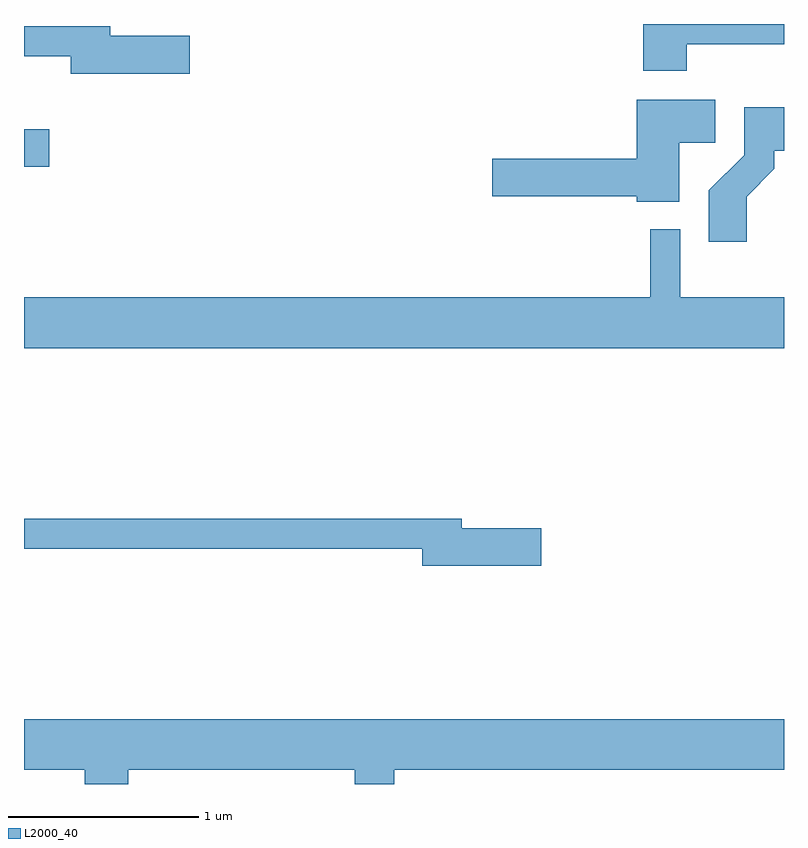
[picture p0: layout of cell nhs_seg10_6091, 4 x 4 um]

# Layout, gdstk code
import gdstk
lib = gdstk.Library(unit=1e-6, precision=1e-09)
def R(c, l, rs):  # rectangles x0, y0, x1, y1
    for r in rs: c.add(gdstk.rectangle(r[:2], r[2:], *l))
def P(c, l, *ps):  # polygons
    for p in ps: c.add(gdstk.Polygon(p, *l))
L2000_40 = (2000, 40)

nhs_seg10_6091 = lib.new_cell('nhs_seg10_6091')
R(nhs_seg10_6091, L2000_40, [(365.611,2103.771,365.744,2103.969)])
P(nhs_seg10_6091, L2000_40, [(369.099,2104.416),(369.611,2104.416),(369.611,2104.522),(368.871,2104.522),(368.871,2104.276),(369.099,2104.276)],
  [(366.484,2104.459),(366.064,2104.459),(366.064,2104.509),(365.611,2104.509),(365.611,2104.351),(365.856,2104.351),(365.856,2104.261),(366.484,2104.261)],
  [(369.059,2103.896),(369.249,2103.896),(369.249,2104.124),(368.836,2104.124),(368.836,2103.814),(368.076,2103.814),(368.076,2103.616),(368.836,2103.616),(368.836,2103.586),(369.059,2103.586)],
  [(369.414,2103.614),(369.559,2103.759),(369.559,2103.856),(369.611,2103.856),(369.611,2104.084),(369.401,2104.084),(369.401,2103.832),(369.216,2103.647),(369.216,2103.376),(369.414,2103.376)],
  [(369.611,2103.084),(369.064,2103.084),(369.064,2103.443),(368.906,2103.443),(368.906,2103.084),(365.611,2103.084),(365.611,2102.816),(369.611,2102.816)],
  [(368.334,2101.869),(367.914,2101.869),(367.914,2101.919),(365.611,2101.919),(365.611,2101.761),(367.706,2101.761),(367.706,2101.671),(368.334,2101.671)],
  [(366.159,2100.596),(367.351,2100.596),(367.351,2100.522),(367.559,2100.522),(367.559,2100.596),(369.611,2100.596),(369.611,2100.864),(365.611,2100.864),(365.611,2100.596),(365.931,2100.596),(365.931,2100.522),(366.159,2100.522)])

lib.write_gds('nhs_seg10_6091.gds')
